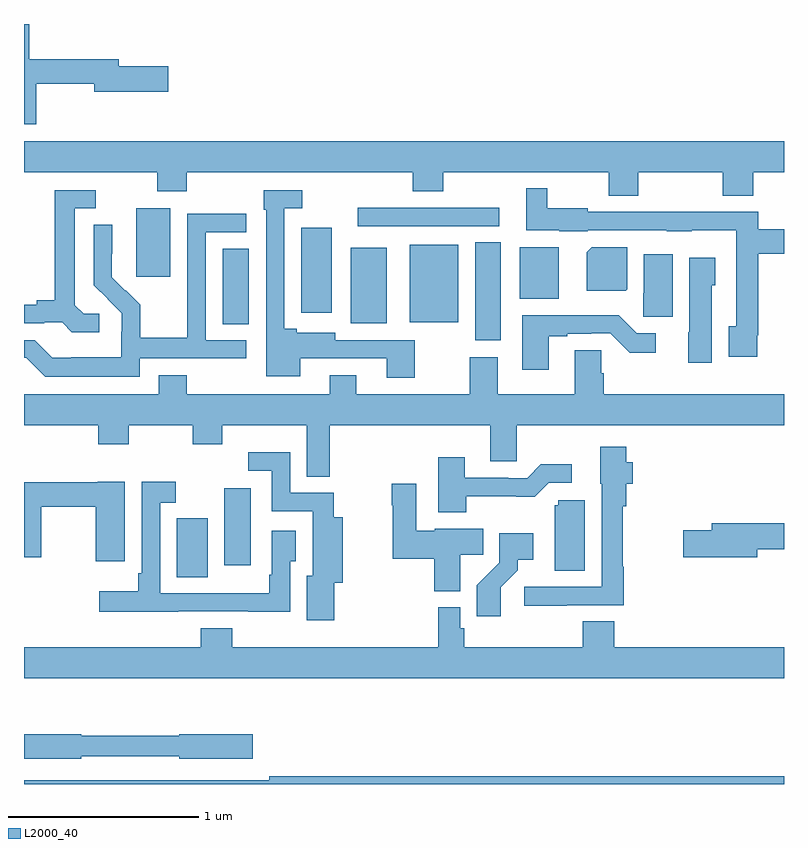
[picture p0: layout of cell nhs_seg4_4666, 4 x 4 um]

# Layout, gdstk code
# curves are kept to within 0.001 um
import gdstk
lib = gdstk.Library(unit=1e-6, precision=1e-09)
def R(c, l, rs):  # rectangles x0, y0, x1, y1
    for r in rs: c.add(gdstk.rectangle(r[:2], r[2:], *l))
def P(c, l, *ps):  # polygons
    for p in ps: c.add(gdstk.Polygon(p, *l))
L2000_40 = (2000, 40)

nhs_seg4_4666 = lib.new_cell('nhs_seg4_4666')
R(nhs_seg4_4666, L2000_40, [(361.805,827.989,361.966,828.3), (362.054,828.051,362.194,828.457), (363.374,829.235,363.508,829.751), (362.045,829.321,362.182,829.718), (362.72,829.325,362.908,829.723), (363.029,829.331,363.286,829.738), (362.459,829.38,362.62,829.828), (363.608,829.454,363.814,829.724), (361.592,829.569,361.771,829.93), (362.757,829.836,363.502,829.932)])
P(nhs_seg4_4666, L2000_40, [(361.064,830.586),(361.37,830.586),(361.37,830.543),(361.759,830.543),(361.759,830.678),(361.498,830.678),(361.498,830.714),(361.027,830.714),(361.027,830.9),(361,830.9),(361,830.373),(361.064,830.373)],
  [(364.233,830.12),(364.678,830.12),(364.678,829.996),(364.838,829.996),(364.838,830.12),(365,830.12),(365,830.284),(361,830.284),(361,830.12),(361.702,830.12),(361.702,830.021),(361.857,830.021),(361.857,830.12),(363.047,830.12),(363.047,830.021),(363.207,830.021),(363.207,830.12),(364.078,830.12),(364.078,829.996),(364.233,829.996)],
  [(364.858,829.261),(364.865,829.261),(364.865,829.69),(365,829.69),(365,829.819),(364.865,829.819),(364.865,829.911),(364.615,829.911),(364.615,829.913),(364.383,829.913),(364.383,829.911),(363.966,829.911),(363.966,829.93),(363.754,829.93),(363.754,830.035),(363.644,830.035),(363.644,829.814),(363.816,829.814),(363.816,829.808),(363.966,829.808),(363.966,829.815),(364.383,829.815),(364.383,829.808),(364.515,829.808),(364.515,829.814),(364.749,829.814),(364.749,829.31),(364.709,829.31),(364.709,829.149),(364.858,829.149)],
  [(361.396,829.374),(361.314,829.374),(361.267,829.421),(361.267,829.929),(361.378,829.929),(361.378,830.025),(361.163,830.025),(361.163,829.445),(361.067,829.445),(361.067,829.422),(361,829.422),(361,829.326),(361.106,829.326),(361.106,829.329),(361.2,829.329),(361.252,829.277),(361.396,829.277)],
  [(363.057,829.236),(362.638,829.236),(362.638,829.276),(362.436,829.276),(362.436,829.295),(362.37,829.295),(362.37,829.929),(362.464,829.929),(362.464,830.025),(362.262,830.025),(362.262,829.922),(362.274,829.922),(362.274,829.046),(362.455,829.046),(362.455,829.14),(362.909,829.14),(362.909,829.038),(363.057,829.038)],
  [(361.608,829.14),(362.17,829.14),(362.17,829.236),(361.956,829.236),(361.956,829.803),(362.17,829.803),(362.17,829.902),(361.86,829.902),(361.86,829.472),(361.858,829.472),(361.858,829.249),(361.613,829.249),(361.613,829.423),(361.536,829.5),(361.533,829.497),(361.463,829.568),(361.464,829.844),(361.368,829.844),(361.368,829.526),(361.514,829.378),(361.514,829.281),(361.512,829.281),(361.512,829.147),(361.249,829.147),(361.249,829.143),(361.149,829.143),(361.056,829.236),(361,829.236),(361,829.143),(361.011,829.143),(361.111,829.043),(361.608,829.043)],
  [(364.174,829.504),(364.174,829.726),(363.988,829.726),(363.962,829.7),(363.962,829.496),(364.166,829.496)],
  [(364.414,829.687),(364.262,829.687),(364.262,829.482),(364.258,829.482),(364.258,829.359),(364.414,829.359)],
  [(364.621,829.524),(364.639,829.524),(364.639,829.669),(364.502,829.669),(364.502,829.278),(364.496,829.278),(364.496,829.116),(364.621,829.116)],
  [(363.763,829.257),(363.859,829.257),(363.859,829.269),(363.986,829.269),(363.986,829.272),(364.086,829.272),(364.189,829.17),(364.324,829.17),(364.324,829.272),(364.224,829.272),(364.129,829.367),(363.623,829.367),(363.623,829.08),(363.763,829.08)],
  [(362.608,828.788),(363.455,828.788),(363.455,828.598),(363.594,828.598),(363.594,828.788),(365,828.788),(365,828.952),(364.052,828.952),(364.052,829.062),(364.038,829.062),(364.038,829.184),(363.899,829.184),(363.899,828.952),(363.493,828.952),(363.493,829.147),(363.346,829.147),(363.346,828.952),(362.749,828.952),(362.749,829.051),(362.609,829.051),(362.609,828.952),(361.857,828.952),(361.857,829.051),(361.709,829.051),(361.709,828.952),(361,828.952),(361,828.788),(361.391,828.788),(361.391,828.689),(361.551,828.689),(361.551,828.788),(361.888,828.788),(361.888,828.689),(362.043,828.689),(362.043,828.788),(362.489,828.788),(362.489,828.517),(362.608,828.517)],
  [(363.857,827.841),(364.157,827.841),(364.157,828.044),(364.15,828.044),(364.15,828.362),(364.17,828.362),(364.17,828.48),(364.205,828.48),(364.205,828.594),(364.17,828.594),(364.17,828.676),(364.034,828.676),(364.034,828.48),(364.041,828.48),(364.041,827.937),(363.633,827.937),(363.633,827.839),(363.857,827.839)],
  [(362.633,827.96),(362.677,827.96),(362.677,828.304),(362.63,828.304),(362.63,828.432),(362.4,828.432),(362.4,828.646),(362.181,828.646),(362.181,828.549),(362.304,828.549),(362.304,828.336),(362.519,828.336),(362.519,827.995),(362.489,827.995),(362.489,827.763),(362.633,827.763)],
  [(363.327,828.414),(363.689,828.413),(363.762,828.486),(363.883,828.486),(363.883,828.583),(363.721,828.583),(363.648,828.51),(363.548,828.51),(363.548,828.513),(363.319,828.513),(363.319,828.619),(363.179,828.619),(363.179,828.329),(363.327,828.329)],
  [(361.531,828.49),(361.389,828.49),(361.389,828.487),(361,828.487),(361,828.093),(361.092,828.093),(361.092,828.358),(361.378,828.358),(361.378,828.072),(361.531,828.072)],
  [(361.813,827.808),(362.179,827.808),(362.179,827.807),(362.4,827.807),(362.4,828.073),(362.431,828.073),(362.431,828.232),(362.304,828.232),(362.304,828.001),(362.292,828.001),(362.292,827.905),(362.062,827.905),(362.062,827.904),(361.716,827.904),(361.716,828.381),(361.798,828.381),(361.798,828.49),(361.62,828.49),(361.62,828.01),(361.6,828.01),(361.6,827.914),(361.395,827.914),(361.395,827.807),(361.813,827.807)],
  [(363.295,828.106),(363.416,828.106),(363.416,828.244),(363.162,828.244),(363.162,828.232),(363.064,828.232),(363.064,828.481),(362.935,828.481),(362.935,828.368),(362.942,828.368),(362.942,828.085),(363.158,828.085),(363.158,827.915),(363.295,827.915)],
  [(363.952,828.393),(363.813,828.393),(363.813,828.366),(363.794,828.366),(363.794,828.022),(363.952,828.022)],
  [(364.858,828.136),(365,828.136),(365,828.272),(364.619,828.272),(364.619,828.236),(364.47,828.236),(364.47,828.094),(364.858,828.094)],
  [(363.508,827.935),(363.598,828.025),(363.598,828.08),(363.679,828.08),(363.679,828.22),(363.501,828.22),(363.501,828.065),(363.382,827.946),(363.382,827.784),(363.508,827.784)],
  [(365,827.62),(364.106,827.62),(364.106,827.756),(363.941,827.756),(363.941,827.62),(363.317,827.62),(363.317,827.721),(363.297,827.721),(363.297,827.83),(363.181,827.83),(363.181,827.62),(362.096,827.62),(362.096,827.719),(361.931,827.719),(361.931,827.62),(361,827.62),(361,827.456),(365,827.456)],
  [(361.302,827.046),(361.818,827.046),(361.818,827.033),(362.203,827.033),(362.203,827.163),(361.818,827.163),(361.818,827.155),(361.302,827.155),(361.302,827.163),(361,827.163),(361,827.033),(361.302,827.033)],
  [(365,826.94),(362.29,826.94),(362.29,826.92),(361,826.92),(361,826.9),(365,826.9)])

lib.write_gds('nhs_seg4_4666.gds')
